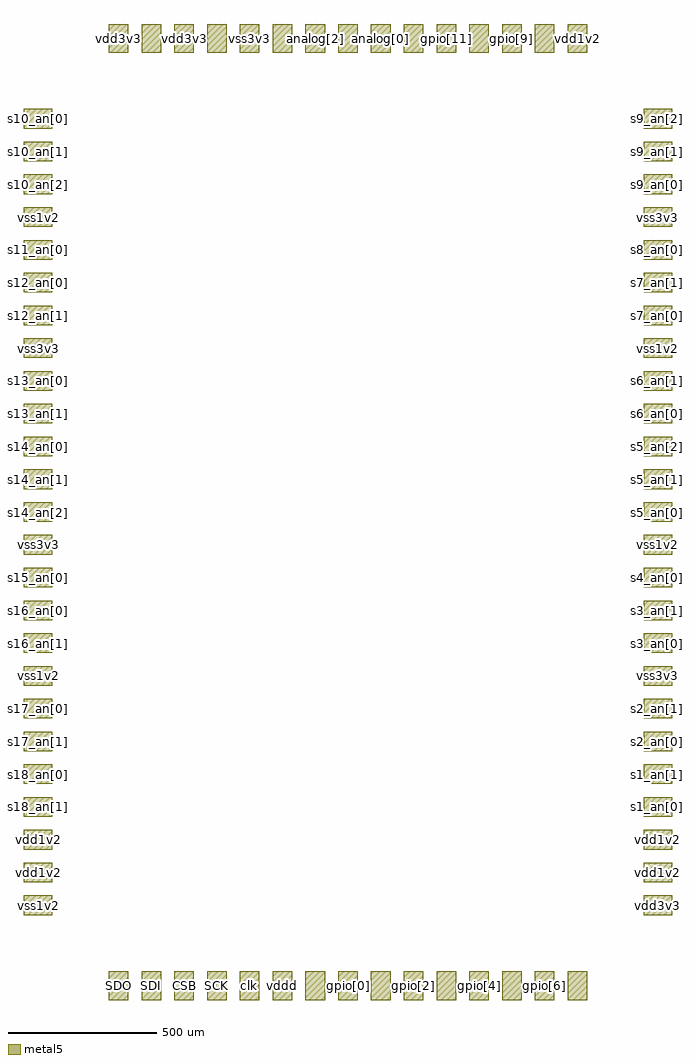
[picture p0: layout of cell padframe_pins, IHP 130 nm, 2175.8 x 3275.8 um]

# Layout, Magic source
magic
tech ihp-sg13cmos5l
<< metal5 >>
rect 28710 318210 35290 327790
rect 39710 318210 46290 327790
rect 50710 318210 57290 327790
rect 61710 318210 68290 327790
rect 72710 318210 79290 327790
rect 83710 318210 90290 327790
rect 94710 318210 101290 327790
rect 105710 318210 112290 327790
rect 116710 318210 123290 327790
rect 127710 318210 134290 327790
rect 138710 318210 145290 327790
rect 149710 318210 156290 327790
rect 160710 318210 167290 327790
rect 171710 318210 178290 327790
rect 182710 318210 189290 327790
rect 210 292710 9790 299290
rect 208210 292710 217790 299290
rect 210 281710 9790 288290
rect 208210 281710 217790 288290
rect 210 270710 9790 277290
rect 208210 270710 217790 277290
rect 210 259710 9790 266290
rect 208210 259710 217790 266290
rect 210 248710 9790 255290
rect 208210 248710 217790 255290
rect 210 237710 9790 244290
rect 208210 237710 217790 244290
rect 210 226710 9790 233290
rect 208210 226710 217790 233290
rect 210 215710 9790 222290
rect 208210 215710 217790 222290
rect 210 204710 9790 211290
rect 208210 204710 217790 211290
rect 210 193710 9790 200290
rect 208210 193710 217790 200290
rect 210 182710 9790 189290
rect 208210 182710 217790 189290
rect 210 171710 9790 178290
rect 208210 171710 217790 178290
rect 210 160710 9790 167290
rect 208210 160710 217790 167290
rect 210 149710 9790 156290
rect 208210 149710 217790 156290
rect 210 138710 9790 145290
rect 208210 138710 217790 145290
rect 210 127710 9790 134290
rect 208210 127710 217790 134290
rect 210 116710 9790 123290
rect 208210 116710 217790 123290
rect 210 105710 9790 112290
rect 208210 105710 217790 112290
rect 210 94710 9790 101290
rect 208210 94710 217790 101290
rect 210 83710 9790 90290
rect 208210 83710 217790 90290
rect 210 72710 9790 79290
rect 208210 72710 217790 79290
rect 210 61710 9790 68290
rect 208210 61710 217790 68290
rect 210 50710 9790 57290
rect 208210 50710 217790 57290
rect 210 39710 9790 46290
rect 208210 39710 217790 46290
rect 210 28710 9790 35290
rect 208210 28710 217790 35290
rect 28710 210 35290 9790
rect 39710 210 46290 9790
rect 50710 210 57290 9790
rect 61710 210 68290 9790
rect 72710 210 79290 9790
rect 83710 210 90290 9790
rect 94710 210 101290 9790
rect 105710 210 112290 9790
rect 116710 210 123290 9790
rect 127710 210 134290 9790
rect 138710 210 145290 9790
rect 149710 210 156290 9790
rect 160710 210 167290 9790
rect 171710 210 178290 9790
rect 182710 210 189290 9790
<< labels >>
flabel metal5 28710 210 35290 9790 0 FreeSans 16000 0 0 0 SDO
port 1 nsew
flabel metal5 39710 210 46290 9790 0 FreeSans 16000 0 0 0 SDI
port 2 nsew
flabel metal5 50710 210 57290 9790 0 FreeSans 16000 0 0 0 CSB
port 3 nsew
flabel metal5 61710 210 68290 9790 0 FreeSans 16000 0 0 0 SCK
port 4 nsew
flabel metal5 72710 210 79290 9790 0 FreeSans 16000 0 0 0 clk
port 5 nsew
flabel metal5 83710 210 90290 9790 0 FreeSans 16000 0 0 0 vddd
port 6 nsew
flabel metal5 94710 210 101290 9790 0 FreeSans 16000 0 0 0 vddd
port 6 nsew
flabel metal5 105710 210 112290 9790 0 FreeSans 16000 0 0 0 gpio[0]
port 7 nsew
flabel metal5 116710 210 123290 9790 0 FreeSans 16000 0 0 0 gpio[1]
port 8 nsew
flabel metal5 127710 210 134290 9790 0 FreeSans 16000 0 0 0 gpio[2]
port 9 nsew
flabel metal5 138710 210 145290 9790 0 FreeSans 16000 0 0 0 gpio[3]
port 10 nsew
flabel metal5 149710 210 156290 9790 0 FreeSans 16000 0 0 0 gpio[4]
port 11 nsew
flabel metal5 160710 210 167290 9790 0 FreeSans 16000 0 0 0 gpio[5]
port 12 nsew
flabel metal5 171710 210 178290 9790 0 FreeSans 16000 0 0 0 gpio[6]
port 13 nsew
flabel metal5 182710 210 189290 9790 0 FreeSans 16000 0 0 0 gpio[7]
port 14 nsew
flabel metal5 210 292710 9790 299290 0 FreeSans 16000 0 0 0 s10_an[0]
port 45 nsew
flabel metal5 210 281710 9790 288290 0 FreeSans 16000 0 0 0 s10_an[1]
port 46 nsew
flabel metal5 210 270710 9790 277290 0 FreeSans 16000 0 0 0 s10_an[2]
port 47 nsew
flabel metal5 210 259710 9790 266290 0 FreeSans 16000 0 0 0 vss1v2
port 25 nsew
flabel metal5 210 248710 9790 255290 0 FreeSans 16000 0 0 0 s11_an[0]
port 48 nsew
flabel metal5 210 237710 9790 244290 0 FreeSans 16000 0 0 0 s12_an[0]
port 49 nsew
flabel metal5 210 226710 9790 233290 0 FreeSans 16000 0 0 0 s12_an[1]
port 50 nsew
flabel metal5 210 215710 9790 222290 0 FreeSans 16000 0 0 0 vss3v3
port 21 nsew
flabel metal5 210 204710 9790 211290 0 FreeSans 16000 0 0 0 s13_an[0]
port 51 nsew
flabel metal5 210 193710 9790 200290 0 FreeSans 16000 0 0 0 s13_an[1]
port 52 nsew
flabel metal5 210 182710 9790 189290 0 FreeSans 16000 0 0 0 s14_an[0]
port 53 nsew
flabel metal5 210 171710 9790 178290 0 FreeSans 16000 0 0 0 s14_an[1]
port 54 nsew
flabel metal5 210 160710 9790 167290 0 FreeSans 16000 0 0 0 s14_an[2]
port 55 nsew
flabel metal5 210 149710 9790 156290 0 FreeSans 16000 0 0 0 vss3v3
port 21 nsew
flabel metal5 210 138710 9790 145290 0 FreeSans 16000 0 0 0 s15_an[0]
port 56 nsew
flabel metal5 210 127710 9790 134290 0 FreeSans 16000 0 0 0 s16_an[0]
port 57 nsew
flabel metal5 210 116710 9790 123290 0 FreeSans 16000 0 0 0 s16_an[1]
port 58 nsew
flabel metal5 210 105710 9790 112290 0 FreeSans 16000 0 0 0 vss1v2
port 25 nsew
flabel metal5 210 94710 9790 101290 0 FreeSans 16000 0 0 0 s17_an[0]
port 59 nsew
flabel metal5 210 83710 9790 90290 0 FreeSans 16000 0 0 0 s17_an[1]
port 60 nsew
flabel metal5 210 72710 9790 79290 0 FreeSans 16000 0 0 0 s18_an[0]
port 61 nsew
flabel metal5 210 61710 9790 68290 0 FreeSans 16000 0 0 0 s18_an[1]
port 62 nsew
flabel metal5 210 50710 9790 57290 0 FreeSans 16000 0 0 0 vdd1v2
port 16 nsew
flabel metal5 210 39710 9790 46290 0 FreeSans 16000 0 0 0 vdd1v2
port 16 nsew
flabel metal5 210 28710 9790 35290 0 FreeSans 16000 0 0 0 vss1v2
port 25 nsew
flabel metal5 182710 318210 189290 327790 0 FreeSans 16000 0 0 0 vdd1v2
port 16 nsew
flabel metal5 171710 318210 178290 327790 0 FreeSans 16000 0 0 0 gpio[8]
port 37 nsew
flabel metal5 160710 318210 167290 327790 0 FreeSans 16000 0 0 0 gpio[9]
port 38 nsew
flabel metal5 149710 318210 156290 327790 0 FreeSans 16000 0 0 0 gpio[10]
port 39 nsew
flabel metal5 138710 318210 145290 327790 0 FreeSans 16000 0 0 0 gpio[11]
port 40 nsew
flabel metal5 127710 318210 134290 327790 0 FreeSans 16000 0 0 0 vss3v3
port 21 nsew
flabel metal5 116710 318210 123290 327790 0 FreeSans 16000 0 0 0 analog[0]
port 41 nsew
flabel metal5 105710 318210 112290 327790 0 FreeSans 16000 0 0 0 analog[1]
port 42 nsew
flabel metal5 94710 318210 101290 327790 0 FreeSans 16000 0 0 0 analog[2]
port 43 nsew
flabel metal5 83710 318210 90290 327790 0 FreeSans 16000 0 0 0 analog[3]
port 44 nsew
flabel metal5 72710 318210 79290 327790 0 FreeSans 16000 0 0 0 vss3v3
port 21 nsew
flabel metal5 61710 318210 68290 327790 0 FreeSans 16000 0 0 0 vdd3v3
port 15 nsew
flabel metal5 50710 318210 57290 327790 0 FreeSans 16000 0 0 0 vdd3v3
port 15 nsew
flabel metal5 39710 318210 46290 327790 0 FreeSans 16000 0 0 0 vdd3v3
port 15 nsew
flabel metal5 28710 318210 35290 327790 0 FreeSans 16000 0 0 0 vdd3v3
port 15 nsew
flabel metal5 208210 28710 217790 35290 0 FreeSans 16000 0 0 0 vdd3v3
port 15 nsew
flabel metal5 208210 39710 217790 46290 0 FreeSans 16000 0 0 0 vdd1v2
port 16 nsew
flabel metal5 208210 50710 217790 57290 0 FreeSans 16000 0 0 0 vdd1v2
port 16 nsew
flabel metal5 208210 61710 217790 68290 0 FreeSans 16000 0 0 0 s1_an[0]
port 17 nsew
flabel metal5 208210 72710 217790 79290 0 FreeSans 16000 0 0 0 s1_an[1]
port 18 nsew
flabel metal5 208210 83710 217790 90290 0 FreeSans 16000 0 0 0 s2_an[0]
port 19 nsew
flabel metal5 208210 94710 217790 101290 0 FreeSans 16000 0 0 0 s2_an[1]
port 20 nsew
flabel metal5 208210 105710 217790 112290 0 FreeSans 16000 0 0 0 vss3v3
port 21 nsew
flabel metal5 208210 116710 217790 123290 0 FreeSans 16000 0 0 0 s3_an[0]
port 22 nsew
flabel metal5 208210 127710 217790 134290 0 FreeSans 16000 0 0 0 s3_an[1]
port 23 nsew
flabel metal5 208210 138710 217790 145290 0 FreeSans 16000 0 0 0 s4_an[0]
port 24 nsew
flabel metal5 208210 149710 217790 156290 0 FreeSans 16000 0 0 0 vss1v2
port 25 nsew
flabel metal5 208210 160710 217790 167290 0 FreeSans 16000 0 0 0 s5_an[0]
port 26 nsew
flabel metal5 208210 171710 217790 178290 0 FreeSans 16000 0 0 0 s5_an[1]
port 27 nsew
flabel metal5 208210 182710 217790 189290 0 FreeSans 16000 0 0 0 s5_an[2]
port 28 nsew
flabel metal5 208210 193710 217790 200290 0 FreeSans 16000 0 0 0 s6_an[0]
port 29 nsew
flabel metal5 208210 204710 217790 211290 0 FreeSans 16000 0 0 0 s6_an[1]
port 30 nsew
flabel metal5 208210 215710 217790 222290 0 FreeSans 16000 0 0 0 vss1v2
port 25 nsew
flabel metal5 208210 226710 217790 233290 0 FreeSans 16000 0 0 0 s7_an[0]
port 31 nsew
flabel metal5 208210 237710 217790 244290 0 FreeSans 16000 0 0 0 s7_an[1]
port 32 nsew
flabel metal5 208210 248710 217790 255290 0 FreeSans 16000 0 0 0 s8_an[0]
port 33 nsew
flabel metal5 208210 259710 217790 266290 0 FreeSans 16000 0 0 0 vss3v3
port 21 nsew
flabel metal5 208210 270710 217790 277290 0 FreeSans 16000 0 0 0 s9_an[0]
port 34 nsew
flabel metal5 208210 281710 217790 288290 0 FreeSans 16000 0 0 0 s9_an[1]
port 35 nsew
flabel metal5 208210 292710 217790 299290 0 FreeSans 16000 0 0 0 s9_an[2]
port 36 nsew
<< end >>
